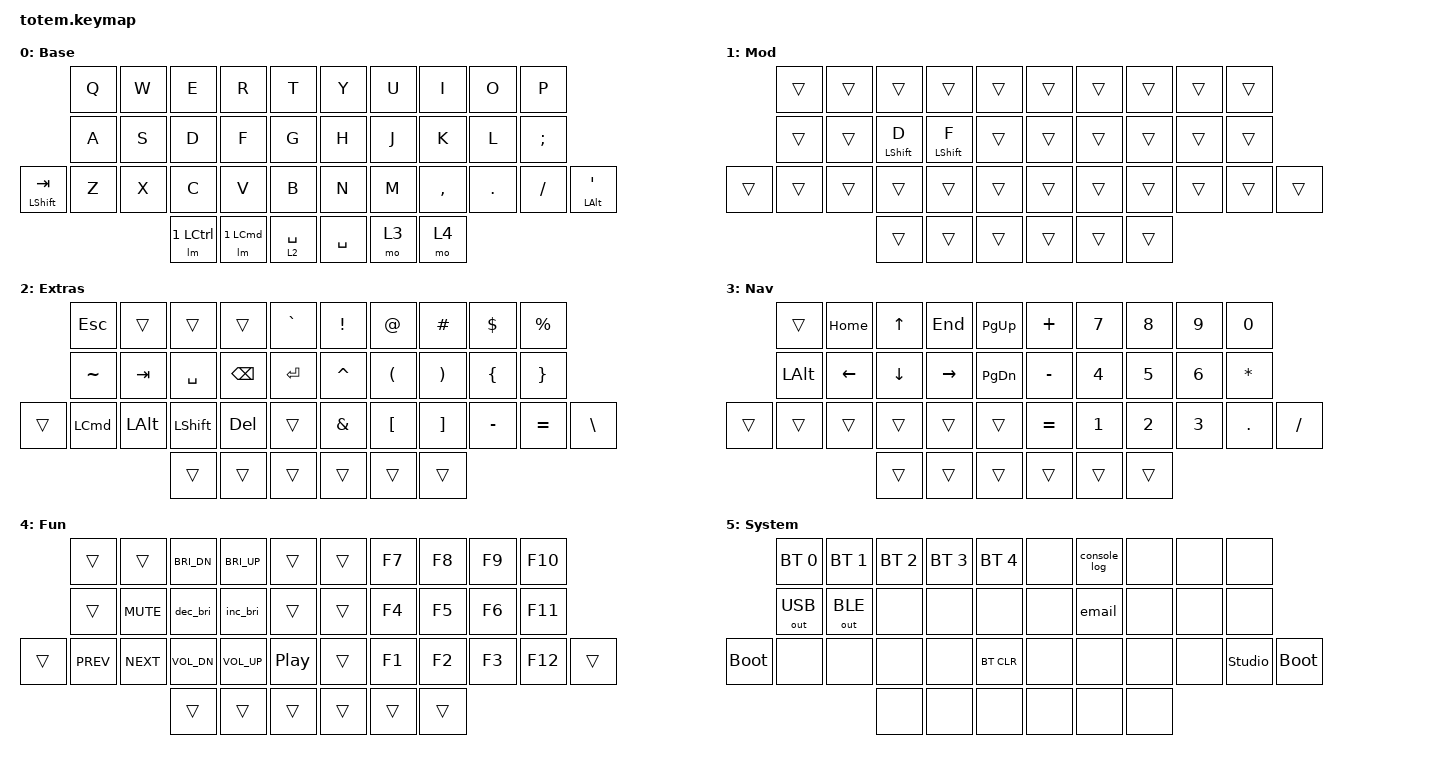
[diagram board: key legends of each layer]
//
//                                                        ▀▀▀▀▀     ▀▀▀▀▀          ▀▀█▀▀
//                                                        ▄▀▀▀▄  ▄  ▄▀▀▀▄  ▄  ▄▀▀▀▄  █  ▄▀▀▀▄
//                                                        █   █  █  █   █  █  █   █  █  █   █
//                                                         ▀▀▀   █   ▀▀▀   █   ▀▀▀   ▀   ▀▀▀
//                                                               █      ▄▄▄█▄▄▄    █   █  
//                                                               ▀      █  █  █     █▄█
//                                                             ▀▀▀▀▀    █  █  █      ▀
//                                                                      ▀  ▀  ▀
//
// ▄▄▄▄▄▄▄▄▄▄▄▄▄▄▄▄▄▄▄▄▄▄▄▄▄▄▄▄▄▄▄▄▄▄▄▄▄▄▄▄▄▄▄▄▄▄▄▄▄▄▄▄▄▄▄▄▄▄▄▄▄▄▄▄▄▄▄▄▄▄▄▄▄▄▄▄▄▄▄▄▄▄▄▄▄▄▄▄▄▄▄▄▄▄▄▄▄▄▄▄▄▄▄▄▄▄▄▄▄▄▄▄▄▄▄▄▄▄▄▄▄▄▄▄▄▄▄▄▄▄▄▄▄▄▄▄▄▄▄▄▄▄▄▄▄▄▄▄▄

#include <behaviors.dtsi>
#include <dt-bindings/zmk/keys.h>
#include <dt-bindings/zmk/bt.h>
#include <dt-bindings/zmk/outputs.h>
#include <behaviors/brightness.dtsi>  // Prospector &inc_bri / &dec_bri

// Layer numbers (written as plain numbers below so the keymap editor can read them).
// When two layers are active, the higher number wins.
//   0 Base
//   1 Mod     shared by the Ctrl and Cmd thumbs (via &lm)
//   2 Extras  left inner thumb (hold): left-hand edit keys + right-hand symbols
//   3 Nav     right middle thumb: arrows/paging + numpad
//   4 Fun     right outer thumb: media, brightness, F-keys
//   5 System  hold Extras + Nav together: Bluetooth, bootloader, macros

&lt {
    tapping-term-ms = <240>;
    flavor = "balanced";
    quick-tap-ms = <150>;
};

/ {
    behaviors {
        hm: homerow_mods {
            compatible = "zmk,behavior-hold-tap";
            label = "HOMEROW_MODS";
            #binding-cells = <2>;
            flavor = "tap-preferred";
            tapping-term-ms = <200>;
            quick-tap-ms = <125>;
            global-quick-tap;
            bindings = <&kp>, <&kp>;
        };

        /**
         * Temporarily switches to a layer (`&mo`) while a modifier is held.
         * Analogous to QMK's `LM()`, using a parameterized macro.
         *
         * Params:
         *  1. Layer to switch to
         *  2. Modifier to press while layer is active
         *
         * Example:
         *  `&lm NUM_LAYER LSHIFT`
         */
        lm: lm {
            compatible = "zmk,behavior-macro-two-param";
            wait-ms = <0>;
            tap-ms = <0>;
            #binding-cells = <2>;
            bindings =
                <&macro_param_1to1>,
                <&macro_press>,
                <&mo MACRO_PLACEHOLDER &macro_param_2to1>,
                <&macro_press>,
                <&kp MACRO_PLACEHOLDER>,
                <&macro_pause_for_release>,
                <&macro_param_2to1>,
                <&macro_release>,
                <&kp MACRO_PLACEHOLDER &macro_param_1to1>,
                <&macro_release>,
                <&mo MACRO_PLACEHOLDER>;
        };
    };

    conditional_layers {
        compatible = "zmk,conditional-layers";
        system_layer {
            if-layers = <2 3>;
            then-layer = <5>;
        };
    };

    combos { compatible = "zmk,combos"; };

    macros {
        email: email {
            compatible = "zmk,behavior-macro";
            #binding-cells = <0>;
            bindings = <&none &kp J &kp A &kp K &kp E &kp DOT &kp B &kp A &kp L &kp E &kp S &kp N7 &kp N2 &kp AT &kp G &kp M &kp A &kp I &kp L &kp DOT &kp C &kp O &kp M>;
            label = "EMAIL";
        };

        console_log: console_log {
            compatible = "zmk,behavior-macro";
            #binding-cells = <0>;
            bindings = <&none &kp C &kp O &kp N &kp S &kp O &kp L &kp E &kp DOT &kp L &kp O &kp G &kp LPAR &kp SQT &kp K_PASTE &kp SQT &kp RPAR>;
            label = "CONSOLE_LOG";
        };
    };

    keymap {
        compatible = "zmk,keymap";

        //          Q      W      E      R      T          Y      U      I      O      P
        //          A      S      D      F      G          H      J      K      L      ;
        //  ⇧/TAB   Z      X      C      V      B          N      M      ,      .      /     ⌥/'
        //                     CTRL+  CMD+   EXTRAS/      SPACE  NAV    FUN
        //                     MOD    MOD    SPACE
        // ⇧/TAB = tap Tab, hold Shift.  ⌥/' = tap ', hold Option.  EXTRAS/SPACE = tap Space, hold Extras.
        Base {
            display-name = "Base";
            bindings = <
                    &kp Q  &kp W  &kp E                   &kp R                   &kp T                 &kp Y      &kp U       &kp I      &kp O    &kp P
                    &kp A  &kp S  &kp D                   &kp F                   &kp G                 &kp H      &kp J       &kp K      &kp L    &kp SEMICOLON
&hm LEFT_SHIFT TAB  &kp Z  &kp X  &kp C                   &kp V                   &kp B                 &kp N      &kp M       &kp COMMA  &kp DOT  &kp SLASH      &hm LEFT_ALT SQT
                                  &lm 1 LEFT_CONTROL    &lm 1 LEFT_COMMAND    &lt 2 SPACE      &kp SPACE  &mo 3     &mo 4
            >;
        };

        // Active while holding the Ctrl or Cmd thumb. Everything passes through,
        // except D and F also act as Shift when held (for Cmd+Shift+... combos).
        Mod {
            display-name = "Mod";
            bindings = <
        &trans  &trans  &trans            &trans            &trans    &trans  &trans  &trans  &trans  &trans
        &trans  &trans  &hm LEFT_SHIFT D  &hm LEFT_SHIFT F  &trans    &trans  &trans  &trans  &trans  &trans
&trans  &trans  &trans  &trans            &trans            &trans    &trans  &trans  &trans  &trans  &trans  &trans
                        &trans            &trans            &trans    &trans  &trans  &trans
            >;
        };

        //          ESC    ·      ·      ·      `          !      @      #      $      %
        //          ~      TAB    SPACE  BKSPC  ENTER      ^      (      )      {      }
        //  ·       CMD    ALT    SHIFT  DEL    ·          &      [      ]      -      =      \
        //                     ·      ·      [held]       ·      SYSTEM ·
        // Left hand = one-handed editing (mouse in right hand). Right hand = symbols, no Shift needed.
        Extras {
            display-name = "Extras";
            bindings = <
                &kp ESCAPE  &trans         &trans        &trans          &kp GRAVE        &kp EXCL   &kp AT    &kp HASH  &kp DOLLAR  &kp PERCENT
                &kp TILDE   &kp TAB        &kp SPACE     &kp BACKSPACE   &kp ENTER        &kp CARET  &kp LPAR  &kp RPAR  &kp LBRC    &kp RBRC
&trans          &kp LEFT_COMMAND  &kp LEFT_ALT  &kp LEFT_SHIFT  &kp DELETE  &trans           &kp AMPS   &kp LBKT  &kp RBKT  &kp MINUS   &kp EQUAL    &kp BACKSLASH
                                           &trans        &trans          &trans           &trans     &trans    &trans
            >;
        };

        //          ·      HOME   ↑      END    PG UP      +      7      8      9      0
        //          ALT    ←      ↓      →      PG DN      -      4      5      6      *
        //  ·       ·      ·      ·      ·      ·          =      1      2      3      .      /
        //                     ·      ·      SYSTEM       ·      [held] ·
        // "·" passes through to Base, so Cmd+Z/X/C/V and Shift still work while on Nav.
        Nav {
            display-name = "Nav";
            bindings = <
        &trans        &kp HOME  &kp UP_ARROW  &kp END    &kp PAGE_UP      &kp PLUS   &kp NUMBER_7  &kp NUMBER_8  &kp NUMBER_9  &kp NUMBER_0
        &kp LEFT_ALT  &kp LEFT  &kp DOWN      &kp RIGHT  &kp PAGE_DOWN    &kp MINUS  &kp NUMBER_4  &kp NUMBER_5  &kp NUMBER_6  &kp ASTERISK
&trans  &trans        &trans    &trans        &trans     &trans           &kp EQUAL  &kp NUMBER_1  &kp NUMBER_2  &kp NUMBER_3  &kp DOT       &kp SLASH
                                &trans        &trans     &trans           &trans     &trans        &trans
            >;
        };

        //          ·      ·      MAC-   MAC+   ·          ·      F7     F8     F9     F10
        //          ·      MUTE   PRO-   PRO+   ·          ·      F4     F5     F6     F11
        //  ·       PREV   NEXT   VOL-   VOL+   PLAY       ·      F1     F2     F3     F12    ·
        //                     ·      ·      ·            ·      ·      [held]
        // MAC = Mac display brightness, PRO = Prospector screen brightness.
        Fun {
            display-name = "Fun";
            bindings = <
        &trans  &trans        &kp C_BRI_DN  &kp C_BRI_UP  &trans              &trans  &kp F7  &kp F8  &kp F9  &kp F10
        &trans  &kp C_MUTE    &dec_bri      &inc_bri      &trans              &trans  &kp F4  &kp F5  &kp F6  &kp F11
&trans  &kp C_PREV    &kp C_NEXT    &kp C_VOL_DN  &kp C_VOL_UP  &kp C_PLAY_PAUSE    &trans  &kp F1  &kp F2  &kp F3  &kp F12  &trans
                                    &trans        &trans        &trans              &trans  &trans  &trans
            >;
        };

        // Hold EXTRAS (left inner thumb) + NAV (right middle thumb).
        //          BT0    BT1    BT2    BT3    BT4        ·      C.LOG  ·      ·      ·
        //          USB    BLE    ·      ·      ·          ·      EMAIL  ·      ·      ·
        //  BOOT    ·      ·      ·      ·      BT CLR     ·      ·      ·      ·      STUDIO BOOT
        // BOOT reboots the half you press it on into bootloader mode. STUDIO = ZMK Studio unlock.
        System {
            display-name = "System";
            bindings = <
                &bt BT_SEL 0  &bt BT_SEL 1  &bt BT_SEL 2  &bt BT_SEL 3  &bt BT_SEL 4    &none  &console_log  &none  &none  &none
                &out OUT_USB  &out OUT_BLE  &none         &none         &none           &none  &email        &none  &none  &none
&bootloader     &none         &none         &none         &none         &bt BT_CLR      &none  &none         &none  &none  &studio_unlock  &bootloader
                                            &none         &none         &none           &none  &none         &none
            >;
        };
    };
};
